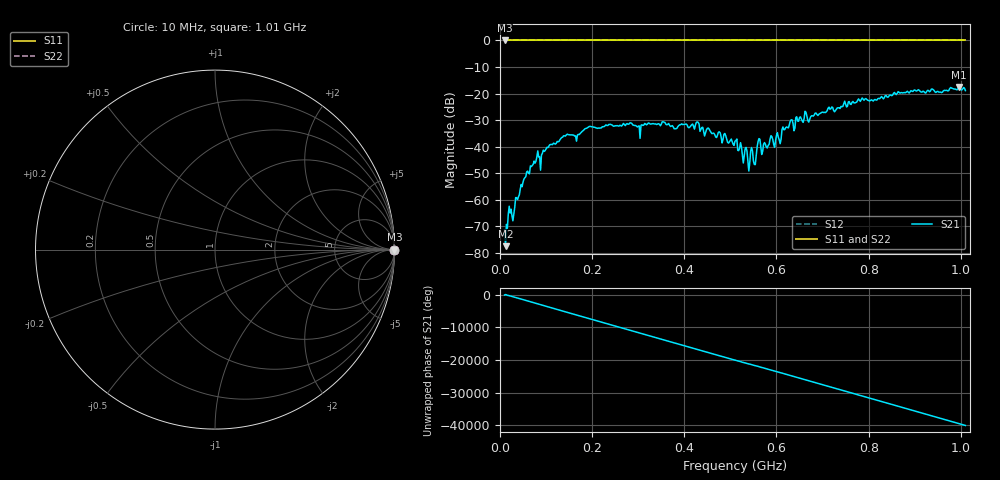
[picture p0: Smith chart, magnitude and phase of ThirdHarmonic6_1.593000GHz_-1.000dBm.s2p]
! 8/16/2025 6:59:00 PM
! C:\ANRITSUVNA\TEMP\TEMP.S2P
! CHANNEL.1
! TR.MEASUREMENT
! RAW.DATA
! RF.CORRECTION.OFF
! AVERAGING.OFF
! IF.BANDWIDTH: 5KHZ
! SWEEPTYPE:  FREQ.SWEEP(Linear)
! Reference Plane Port Info
! PORT:  PORT1  PORT2
! DISTANCE:  0  m  0  m
! TIME:  0  s  0  s
! PHASE.OFFSET:  0  deg.  0  deg.
! LOSS:  0  dB  0  dB
! REF.LOSS:  0  dB  0  dB
! REF.FREQ:  0  Hz  0  Hz
! Power Info
! POWER:  -20  dBm  -20  dBm
! EFF.POWER:  -20  dBm  -20  dBm
! SOURCE.ATTEN:  0  dB  0  dB
! TEST.ATTEN:  0  dB  0  dB
# GHZ S RI R 50.0
! FREQ.GHZ  S11RE  S11IM  S21RE  S21IM  S12RE  S12IM  S22RE  S22IM
!; PortSelection: Port_12
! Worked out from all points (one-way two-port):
!   501 points, 10 MHz to 1.01 GHz, reference 50 ohm
!   highest |S21| = -17.58 dB at 996 MHz (marker M1); lowest = -77.5 dB at 12 MHz (marker M2)
!   lowest |S11| = 0.0 dB at 10 MHz (marker M3)
!   |S11| at or under -10 dB: nowhere
!   |S22| runs from 0.0 to 0.0 dB; largest |S21 - S12| = 1.1
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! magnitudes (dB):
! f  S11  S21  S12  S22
! 10 MHz  0.0  -71.3  0.0  0.0
! 12 MHz  0.0  -77.5  0.0  0.0
! 22 MHz  0.0  -65.0  0.0  0.0
! 28 MHz  0.0  -67.9  0.0  0.0
! 54 MHz  0.0  -51.7  0.0  0.0
! 78 MHz  0.0  -45.5  0.0  0.0
! 136 MHz  0.0  -36.4  0.0  0.0
! 178 MHz  0.0  -34.3  0.0  0.0
! 344 MHz  0.0  -31.4  0.0  0.0
! 428 MHz  0.0  -30.7  0.0  0.0
! 444 MHz  0.0  -36.0  0.0  0.0
! 510 MHz  0.0  -37.9  0.0  0.0
! 538 MHz  0.0  -45.3  0.0  0.0
! 552 MHz  0.0  -46.7  0.0  0.0
! 562 MHz  0.0  -37.0  0.0  0.0
! 580 MHz  0.0  -40.5  0.0  0.0
! 608 MHz  0.0  -38.9  0.0  0.0
! 632 MHz  0.0  -29.9  0.0  0.0
! 678 MHz  0.0  -28.4  0.0  0.0
! 844 MHz  0.0  -21.0  0.0  0.0
! 996 MHz  0.0  -17.6  0.0  0.0
! 1.01 GHz  0.0  -18.9  0.0  0.0
